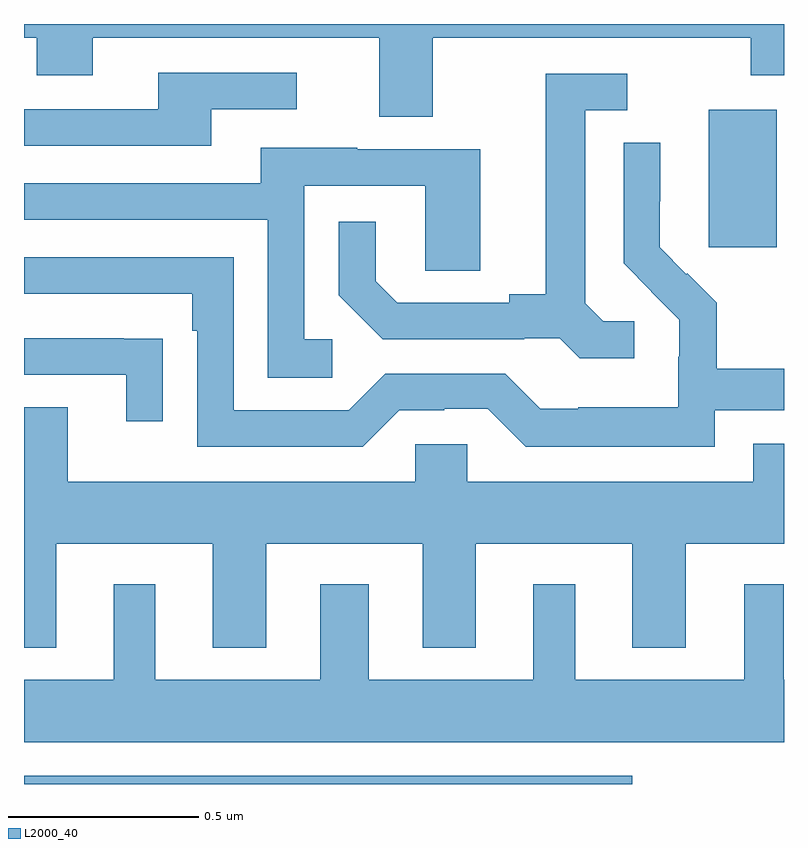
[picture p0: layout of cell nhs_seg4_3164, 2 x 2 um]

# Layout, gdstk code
import gdstk
lib = gdstk.Library(unit=1e-6, precision=1e-09)
def R(c, l, rs):  # rectangles x0, y0, x1, y1
    for r in rs: c.add(gdstk.rectangle(r[:2], r[2:], *l))
def P(c, l, *ps):  # polygons
    for p in ps: c.add(gdstk.Polygon(p, *l))
L2000_40 = (2000, 40)

nhs_seg4_3164 = lib.new_cell('nhs_seg4_3164')
R(nhs_seg4_3164, L2000_40, [(150,750.9,151.6,750.922), (151.802,752.313,151.981,752.674)])
P(nhs_seg4_3164, L2000_40, [(151.075,752.864),(151.912,752.864),(151.912,752.765),(152,752.765),(152,752.9),(150,752.9),(150,752.864),(150.034,752.864),(150.034,752.765),(150.181,752.765),(150.181,752.864),(150.935,752.864),(150.935,752.656),(151.075,752.656)],
  [(150.493,752.676),(150.718,752.676),(150.718,752.772),(150.353,752.772),(150.353,752.676),(150,752.676),(150,752.58),(150.493,752.58)],
  [(151.606,752.118),(151.524,752.118),(151.477,752.165),(151.477,752.673),(151.588,752.673),(151.588,752.769),(151.373,752.769),(151.373,752.189),(151.277,752.189),(151.277,752.166),(150.982,752.166),(150.925,752.223),(150.925,752.38),(150.828,752.38),(150.828,752.186),(150.944,752.07),(151.316,752.07),(151.316,752.073),(151.41,752.073),(151.462,752.021),(151.606,752.021)],
  [(151.818,751.884),(152,751.884),(152,751.993),(151.823,751.993),(151.823,752.167),(151.746,752.244),(151.743,752.241),(151.673,752.312),(151.673,752.434),(151.674,752.434),(151.674,752.588),(151.578,752.588),(151.578,752.27),(151.651,752.197),(151.65,752.196),(151.724,752.122),(151.724,752.025),(151.722,752.025),(151.722,751.891),(151.459,751.891),(151.459,751.887),(151.359,751.887),(151.266,751.98),(150.951,751.98),(150.855,751.884),(150.552,751.884),(150.552,752.286),(150,752.286),(150,752.19),(150.443,752.19),(150.443,752.093),(150.456,752.093),(150.456,751.788),(150.891,751.788),(150.987,751.884),(151.106,751.884),(151.106,751.887),(151.221,751.887),(151.321,751.787),(151.818,751.787)],
  [(150.811,752.07),(150.738,752.07),(150.738,752.475),(151.056,752.475),(151.056,752.251),(151.201,752.251),(151.201,752.571),(150.877,752.571),(150.877,752.575),(150.623,752.575),(150.623,752.481),(150,752.481),(150,752.385),(150.642,752.385),(150.642,751.969),(150.811,751.969)],
  [(150.365,752.072),(150.263,752.072),(150.263,752.073),(150,752.073),(150,751.977),(150.269,751.977),(150.269,751.854),(150.365,751.854)],
  [(150.085,751.532),(150.497,751.532),(150.497,751.259),(150.637,751.259),(150.637,751.532),(151.049,751.532),(151.049,751.259),(151.189,751.259),(151.189,751.532),(151.601,751.532),(151.601,751.259),(151.741,751.259),(151.741,751.532),(152,751.532),(152,751.795),(151.919,751.795),(151.919,751.696),(151.167,751.696),(151.167,751.794),(151.029,751.794),(151.029,751.696),(150.115,751.696),(150.115,751.891),(150,751.891),(150,751.259),(150.085,751.259)],
  [(152,751.174),(151.999,751.174),(151.999,751.426),(151.895,751.426),(151.895,751.174),(151.45,751.174),(151.45,751.426),(151.34,751.426),(151.34,751.174),(150.907,751.174),(150.907,751.426),(150.779,751.426),(150.779,751.174),(150.346,751.174),(150.346,751.426),(150.236,751.426),(150.236,751.174),(150,751.174),(150,751.01),(152,751.01)])

lib.write_gds('nhs_seg4_3164.gds')
